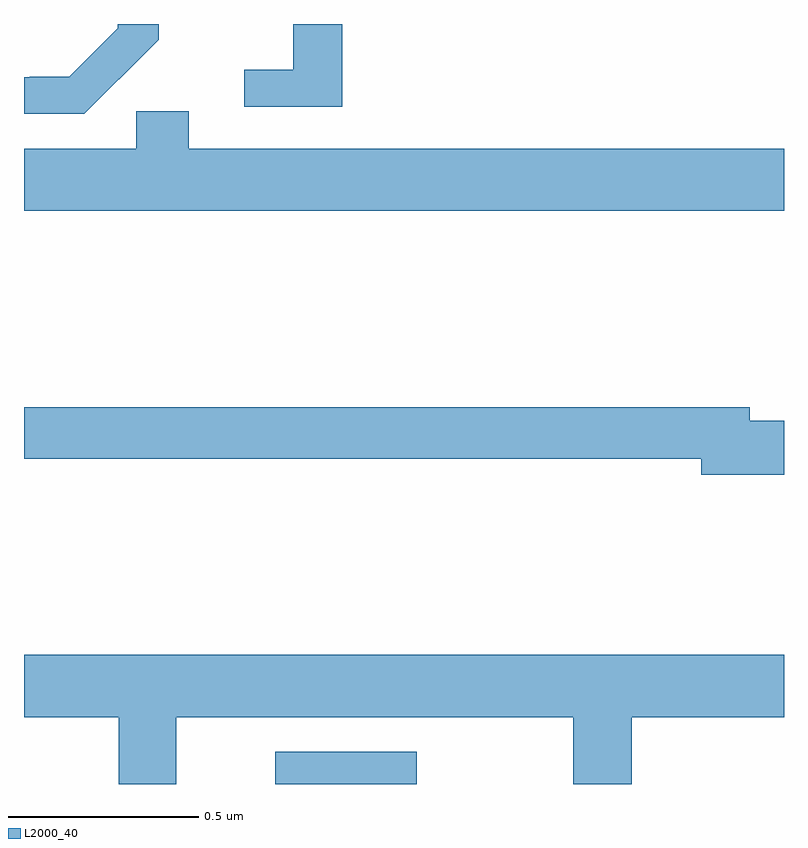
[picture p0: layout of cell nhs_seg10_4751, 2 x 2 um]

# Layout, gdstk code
import gdstk
lib = gdstk.Library(unit=1e-6, precision=1e-09)
def R(c, l, rs):  # rectangles x0, y0, x1, y1
    for r in rs: c.add(gdstk.rectangle(r[:2], r[2:], *l))
def P(c, l, *ps):  # polygons
    for p in ps: c.add(gdstk.Polygon(p, *l))
L2000_40 = (2000, 40)

nhs_seg10_4751 = lib.new_cell('nhs_seg10_4751')
R(nhs_seg10_4751, L2000_40, [(170.661,1273.5,171.034,1273.585)])
P(nhs_seg10_4751, L2000_40, [(170.837,1275.5),(170.709,1275.5),(170.709,1275.379),(170.58,1275.379),(170.58,1275.282),(170.837,1275.282)],
  [(170.249,1275.355),(170.25,1275.354),(170.355,1275.459),(170.355,1275.5),(170.247,1275.5),(170.247,1275.489),(170.119,1275.361),(170.015,1275.361),(170.015,1275.36),(170,1275.36),(170,1275.264),(170.158,1275.264)],
  [(172,1275.172),(170.434,1275.172),(170.434,1275.27),(170.295,1275.27),(170.295,1275.172),(170,1275.172),(170,1275.008),(172,1275.008)],
  [(172,1274.456),(171.91,1274.456),(171.91,1274.492),(170,1274.492),(170,1274.356),(171.782,1274.356),(171.782,1274.314),(172,1274.314)],
  [(170.401,1273.676),(171.446,1273.676),(171.446,1273.5),(171.599,1273.5),(171.599,1273.676),(172,1273.676),(172,1273.84),(170,1273.84),(170,1273.676),(170.249,1273.676),(170.249,1273.5),(170.401,1273.5)])

lib.write_gds('nhs_seg10_4751.gds')
